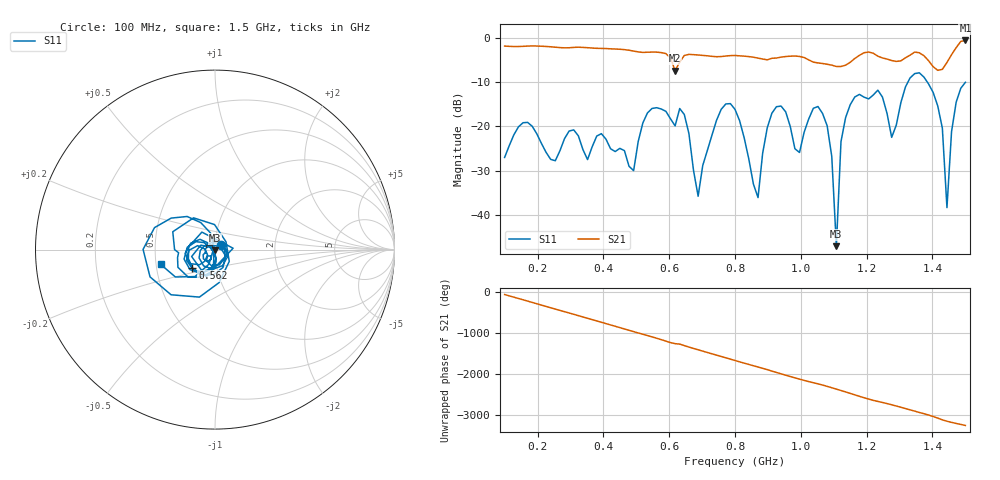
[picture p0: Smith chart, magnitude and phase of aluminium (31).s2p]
! NanoVNA-App
! Date: 2025-09-25 14:55:31
! Start: 100MHz Stop: 1,5GHz Points: 101
! S-Parameter data: F S11 S21 S12 S22
# Hz S RI R 50
!  Frequency  S11_Real  S11_Imag  S21_Real  S21_Imag  S12_Real  S12_Imag  S22_Real  S22_Imag
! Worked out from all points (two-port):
!   101 points, 100 MHz to 1.5 GHz, reference 50 ohm
!   highest |S21| = -0.66 dB at 1.5 GHz (marker M1); lowest = -7.4 dB at 618 MHz (marker M2)
!   |S21| within 3 dB of the highest: start of sweep to 590.6 MHz; 1.186 GHz to 1.223 GHz (36.24 MHz wide, 3.01 % of centre) (the widest 2 of 4)
!   lowest |S11| = -47.0 dB at 1.108 GHz (marker M3), VSWR 1.01, Z = 49.9 - j0.422 ohm
!   |S11| at or under -10 dB: start of sweep to 1.326 GHz; 1.384 GHz to end of sweep
!   S12 and S22 are empty: the file has one direction only
!   S11 on the Smith chart (normalised r, x): 100 MHz: 1.07, +0.06; 562 MHz: 0.76, -0.16; 1.5 GHz: 0.53, -0.10
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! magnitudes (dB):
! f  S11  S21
! 100 MHz  -27.0  -1.9
! 338 MHz  -25.2  -2.2
! 492 MHz  -30.0  -3.0
! 562 MHz  -15.8  -3.3
! 576 MHz  -16.1  -3.4
! 618 MHz  -19.9  -7.4
! 688 MHz  -35.7  -3.9
! 800 MHz  -16.2  -4.0
! 870 MHz  -36.0  -4.6
! 912 MHz  -17.0  -4.7
! 996 MHz  -25.9  -4.3
! 1.038 GHz  -15.9  -5.5
! 1.08 GHz  -19.9  -6.0
! 1.108 GHz  -47.0  -6.5
! 1.122 GHz  -23.4  -6.5
! 1.15 GHz  -15.1  -5.6
! 1.276 GHz  -22.5  -5.2
! 1.374 GHz  -8.9  -4.1
! 1.43 GHz  -20.4  -7.2
! 1.444 GHz  -38.3  -5.6
! 1.458 GHz  -21.2  -3.8
! 1.5 GHz  -10.1  -0.7
